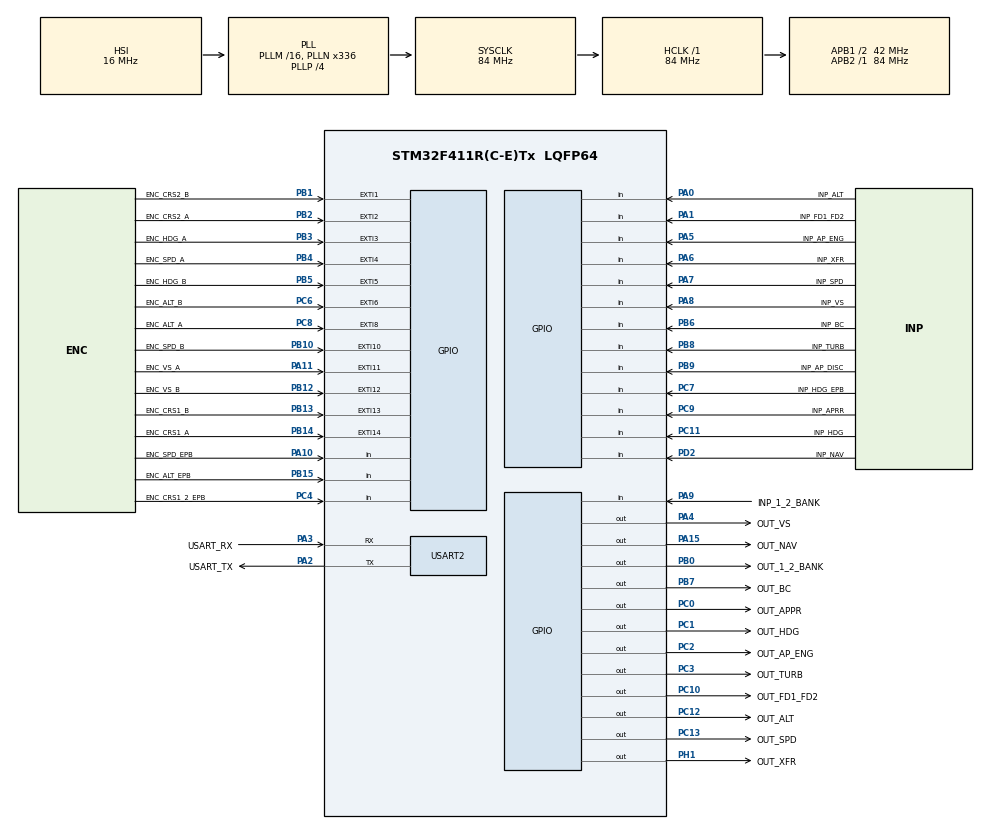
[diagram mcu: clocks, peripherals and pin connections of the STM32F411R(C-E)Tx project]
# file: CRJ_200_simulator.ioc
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Mcu.Family=STM32F4
Mcu.Name=STM32F411R(C-E)Tx
Mcu.Package=LQFP64
NVIC.EXTI15_10_IRQn=true\:0\:0\:false\:false\:true\:true\:true\:true
NVIC.EXTI1_IRQn=true\:0\:0\:false\:false\:true\:true\:true\:true
NVIC.EXTI2_IRQn=true\:0\:0\:false\:false\:true\:true\:true\:true
NVIC.EXTI3_IRQn=true\:0\:0\:false\:false\:true\:true\:true\:true
NVIC.EXTI4_IRQn=true\:0\:0\:false\:false\:true\:true\:true\:true
NVIC.EXTI9_5_IRQn=true\:0\:0\:false\:false\:true\:true\:true\:true
NVIC.PriorityGroup=NVIC_PRIORITYGROUP_0
NVIC.USART2_IRQn=true\:0\:0\:false\:false\:true\:true\:true\:true
PA0-WKUP.GPIO_Label=INP_ALT
PA0-WKUP.GPIO_PuPd=GPIO_PULLUP
PA0-WKUP.Signal=GPIO_Input
PA1.GPIO_Label=INP_FD1_FD2
PA1.GPIO_PuPd=GPIO_PULLUP
PA1.Signal=GPIO_Input
PA10.GPIO_Label=ENC_SPD_EPB
PA10.GPIO_PuPd=GPIO_PULLUP
PA10.Signal=GPIO_Input
PA11.GPIO_Label=ENC_VS_A
PA11.Signal=GPXTI11
PA13.GPIO_Label=TMS
PA13.Mode=Serial_Wire
PA13.Signal=SYS_JTMS-SWDIO
PA14.GPIO_Label=TCK
PA14.Mode=Serial_Wire
PA14.Signal=SYS_JTCK-SWCLK
PA15.GPIO_Label=OUT_NAV
PA15.Signal=GPIO_Output
PA2.GPIO_Label=USART_TX
PA2.Mode=Asynchronous
PA2.Signal=USART2_TX
PA3.GPIO_Label=USART_RX
PA3.Mode=Asynchronous
PA3.Signal=USART2_RX
PA4.GPIO_Label=OUT_VS
PA4.Signal=GPIO_Output
PA5.GPIO_Label=INP_AP_ENG
PA5.GPIO_PuPd=GPIO_PULLUP
PA5.Signal=GPIO_Input
PA6.GPIO_Label=INP_XFR
PA6.GPIO_PuPd=GPIO_PULLUP
PA6.Signal=GPIO_Input
PA7.GPIO_Label=INP_SPD
PA7.GPIO_PuPd=GPIO_PULLUP
PA7.Signal=GPIO_Input
PA8.GPIO_Label=INP_VS
PA8.GPIO_PuPd=GPIO_PULLUP
PA8.Signal=GPIO_Input
PA9.GPIO_Label=INP_1_2_BANK
PA9.GPIO_PuPd=GPIO_PULLUP
PA9.Signal=GPIO_Input
PB0.GPIO_Label=OUT_1_2_BANK
PB0.Signal=GPIO_Output
PB1.GPIO_Label=ENC_CRS2_B
PB1.Signal=GPXTI1
PB10.GPIO_Label=ENC_SPD_B
PB10.Signal=GPXTI10
PB12.GPIO_Label=ENC_VS_B
PB12.Signal=GPXTI12
PB13.GPIO_Label=ENC_CRS1_B
PB13.Signal=GPXTI13
PB14.GPIO_Label=ENC_CRS1_A
PB14.Signal=GPXTI14
PB15.GPIO_Label=ENC_ALT_EPB
PB15.GPIO_PuPd=GPIO_PULLUP
PB15.Signal=GPIO_Input
PB2.GPIO_Label=ENC_CRS2_A
PB2.Signal=GPXTI2
PB3.GPIO_Label=ENC_HDG_A
PB3.Signal=GPXTI3
PB4.GPIO_Label=ENC_SPD_A
PB4.Signal=GPXTI4
PB5.GPIO_Label=ENC_HDG_B
PB5.Signal=GPXTI5
PB6.GPIO_Label=INP_BC
PB6.GPIO_PuPd=GPIO_PULLUP
PB6.Signal=GPIO_Input
PB7.GPIO_Label=OUT_BC
PB7.Signal=GPIO_Output
PB8.GPIO_Label=INP_TURB
PB8.GPIO_PuPd=GPIO_PULLUP
PB8.Signal=GPIO_Input
PB9.GPIO_Label=INP_AP_DISC
PB9.GPIO_PuPd=GPIO_PULLUP
PB9.Signal=GPIO_Input
PC0.GPIO_Label=OUT_APPR
PC0.Signal=GPIO_Output
PC1.GPIO_Label=OUT_HDG
PC1.Signal=GPIO_Output
PC10.GPIO_Label=OUT_FD1_FD2
PC10.Signal=GPIO_Output
PC11.GPIO_Label=INP_HDG
PC11.GPIO_PuPd=GPIO_PULLUP
PC11.Signal=GPIO_Input
PC12.GPIO_Label=OUT_ALT
PC12.Signal=GPIO_Output
PC13-ANTI_TAMP.GPIO_Label=OUT_SPD
PC13-ANTI_TAMP.Signal=GPIO_Output
PC14-OSC32_IN.Mode=LSE-External-Oscillator
PC14-OSC32_IN.Signal=RCC_OSC32_IN
PC15-OSC32_OUT.Mode=LSE-External-Oscillator
PC15-OSC32_OUT.Signal=RCC_OSC32_OUT
PC2.GPIO_Label=OUT_AP_ENG
PC2.Signal=GPIO_Output
PC3.GPIO_Label=OUT_TURB
PC3.Signal=GPIO_Output
PC4.GPIO_Label=ENC_CRS1_2_EPB
PC4.GPIO_PuPd=GPIO_PULLUP
PC4.Signal=GPIO_Input
PC6.GPIO_Label=ENC_ALT_B
PC6.Signal=GPXTI6
PC7.GPIO_Label=INP_HDG_EPB
PC7.GPIO_PuPd=GPIO_PULLUP
PC7.Signal=GPIO_Input
PC8.GPIO_Label=ENC_ALT_A
PC8.Signal=GPXTI8
PC9.GPIO_Label=INP_APRR
PC9.GPIO_PuPd=GPIO_PULLUP
PC9.Signal=GPIO_Input
PD2.GPIO_Label=INP_NAV
PD2.GPIO_PuPd=GPIO_PULLUP
PD2.Signal=GPIO_Input
PH1\ -\ OSC_OUT.GPIO_Label=OUT_XFR
PH1\ -\ OSC_OUT.Signal=GPIO_Output
ProjectManager.HeapSize=0x200
ProjectManager.StackSize=0x400
ProjectManager.TargetToolchain=STM32CubeIDE
RCC.48MHZClocksFreq_Value=84000000
RCC.AHBFreq_Value=84000000
RCC.APB1CLKDivider=RCC_HCLK_DIV2
RCC.APB1Freq_Value=42000000
RCC.APB1TimFreq_Value=84000000
RCC.APB2Freq_Value=84000000
RCC.APB2TimFreq_Value=84000000
RCC.CortexFreq_Value=84000000
RCC.FLatency-AdvancedSettings=FLASH_LATENCY_2
RCC.HCLKFreq_Value=84000000
RCC.HSE_VALUE=8000000
RCC.HSI_VALUE=16000000
RCC.PLLN=336
RCC.PLLP=RCC_PLLP_DIV4
RCC.SYSCLKFreq_VALUE=84000000
RCC.SYSCLKSource=RCC_SYSCLKSOURCE_PLLCLK
RCC.VCOOutputFreq_Value=336000000
USART2.VirtualMode=VM_ASYNC
board=NUCLEO-F411RE

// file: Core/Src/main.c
/* USER CODE BEGIN Header */
/**
  ******************************************************************************
  * @file           : main.c
  * @brief          : Main program body
  ******************************************************************************
  * @attention
  *
  * Copyright (c) 2025 STMicroelectronics.
  * All rights reserved.
  *
  * This software is licensed under terms that can be found in the LICENSE file
  * in the root directory of this software component.
  * If no LICENSE file comes with this software, it is provided AS-IS.
  *
  ******************************************************************************
  */
/* USER CODE END Header */
#include "main.h"

/* USER CODE BEGIN Includes */
#include "stdio.h"
#include "stdlib.h"
#define PUTCHAR_PROTOTYPE int __io_putchar(int ch)
/* USER CODE END Includes */

/* USER CODE BEGIN PD */
#define TX_BUFFER_SIZE 1
#define OUTPUT_DATA_SIZE 12
#define BUTTON_DATA_SIZE 17
#define DEBOUNCE_DELAY 25
#define SEND_DELAY 10
/* USER CODE END PD */

UART_HandleTypeDef huart2;

/* USER CODE BEGIN PV */
typedef struct {
    uint16_t pin;
    uint32_t lastInterruptTime;
} DebounceState;

typedef struct{
	GPIO_TypeDef* port;	//The GPIO port of the LED
	uint16_t pin;		//The pin number
	uint8_t state;		//The State of the LED or  BUTTON (0 = OFF, 1 = ON)
}OUTPUTS, INPUTS;

typedef struct LinkedListNode {				//structure of link list  for the QUEUE
	struct LinkedListNode* ptrNextNode;	   // pointer to next node in list (NULL if the end)
	uint8_t				   index;		 //The index of the element
	uint8_t				   sendData;	// The data to be sent
	uint8_t				   element;		  //The element to be send
} LinkedListNodeDef;

enum elements{
	ENCODER_FLAG,
	ENCODER_INDEX,
	ENCODER_DATA
};

OUTPUTS leds[OUTPUT_DATA_SIZE] = {
    {OUT_FD1_FD2_GPIO_Port, OUT_FD1_FD2_Pin, GPIO_PIN_SET},  // FD1 FD2 Led
    {OUT_AP_ENG_GPIO_Port, OUT_AP_ENG_Pin, GPIO_PIN_SET},    // AP ENG Led
    {OUT_XFR_GPIO_Port, OUT_XFR_Pin, GPIO_PIN_SET},          // XFR Led
    {OUT_TURB_GPIO_Port, OUT_TURB_Pin, GPIO_PIN_SET},        // TURB Led
    {OUT_SPD_GPIO_Port, OUT_SPD_Pin, GPIO_PIN_SET},          // SPD Led
    {OUT_APPR_GPIO_Port, OUT_APPR_Pin, GPIO_PIN_SET},        // APPR Led
    {OUT_BC_GPIO_Port, OUT_BC_Pin, GPIO_PIN_SET},            // BC Led
    {OUT_HDG_GPIO_Port, OUT_HDG_Pin, GPIO_PIN_SET},          // HDG Led
    {OUT_NAV_GPIO_Port, OUT_NAV_Pin, GPIO_PIN_SET},          // NAV Led
    {OUT_1_2_BANK_GPIO_Port, OUT_1_2_BANK_Pin, GPIO_PIN_SET},// 1/2 BANK Led
    {OUT_ALT_GPIO_Port, OUT_ALT_Pin, GPIO_PIN_SET},          // ALT Led
    {OUT_VS_GPIO_Port, OUT_VS_Pin, GPIO_PIN_SET},            // VS Led
};

INPUTS buttons[BUTTON_DATA_SIZE] = {
		{INP_FD1_FD2_GPIO_Port, INP_FD1_FD2_Pin, 1},		//FD1 FD2 Button
		{INP_ALT_GPIO_Port, INP_ALT_Pin, 1},				//ALT Button
		{INP_NAV_GPIO_Port, INP_NAV_Pin, 1},				//NAV Button
		{INP_HDG_GPIO_Port, INP_HDG_Pin, 1},				//HDG Button
		{INP_APRR_GPIO_Port, INP_APRR_Pin, 1},				//APPR Button
		{INP_TURB_GPIO_Port, INP_TURB_Pin, 1},				//TURB Button
		{INP_AP_DISC_GPIO_Port, INP_AP_DISC_Pin, 1},		//AP DISC Button
		{INP_AP_ENG_GPIO_Port, INP_AP_ENG_Pin, 1},			//AP ENG Button
		{INP_XFR_GPIO_Port, INP_XFR_Pin, 1},				//XFR Button
		{INP_SPD_GPIO_Port, INP_SPD_Pin, 1},				//SPD Button
		{INP_BC_GPIO_Port, INP_BC_Pin, 1},					//BC Button
		{INP_HDG_EPB_GPIO_Port, INP_HDG_EPB_Pin, 1},		//HDG Encoder's Button
		{INP_1_2_BANK_GPIO_Port, INP_1_2_BANK_Pin, 1},		//1/2 Button
		{INP_VS_GPIO_Port, INP_VS_Pin, 1},					//VS Button
		{ENC_SPD_EPB_GPIO_Port, ENC_SPD_EPB_Pin, 1},		//SPD Encoder's Button
		{ENC_CRS1_2_EPB_GPIO_Port, ENC_CRS1_2_EPB_Pin, 1},	//CRS1 Encoder's Button
		{ENC_ALT_EPB_GPIO_Port, ENC_ALT_EPB_Pin, 1},		//ALT Encoder's Button
};

DebounceState debounceStates[] = {
    {ENC_CRS1_B_Pin, 0},
    {ENC_SPD_B_Pin, 0},
    {ENC_HDG_B_Pin, 0},
    {ENC_ALT_B_Pin, 0},
    {ENC_VS_B_Pin, 0},
    {ENC_CRS2_B_Pin, 0}
};

volatile uint8_t encoderStorage[3] = {0};
volatile uint8_t received = 1;
volatile uint8_t tx_complete = 0;
uint16_t ledStatusRxBuffer = 0b111111111111;
uint32_t buttonStatusTxData = 0;
uint8_t uart_tx_buffer[BUTTON_DATA_SIZE];
LinkedListNodeDef* ptrHead = NULL;

/* USER CODE END PV */

void SystemClock_Config(void);
static void MX_GPIO_Init(void);
static void MX_USART2_UART_Init(void);
/* USER CODE BEGIN PFP */
LinkedListNodeDef* putToQueue( uint8_t index, uint8_t data, uint8_t element, LinkedListNodeDef* ptrHead);
uint8_t transformData( uint8_t index, uint8_t data, uint8_t element);
void unpackData(uint8_t data);
LinkedListNodeDef* sendFromQueue(LinkedListNodeDef* ptrHead);
void HAL_UART_RxCpltCallback(UART_HandleTypeDef *huart);
void HAL_GPIO_EXTI_Callback(uint16_t GPIO_Pin);
void unpackDataLED();
void updateLEDOutput();
void updateLeds();
void turnOffLED();
LinkedListNodeDef* readDatabuttons();
/* USER CODE END PFP */

int main(void)
{

  /* MCU Configuration--------------------------------------------------------*/

  /* Reset of all peripherals, Initializes the Flash interface and the Systick. */
  HAL_Init();

  /* Configure the system clock */
  SystemClock_Config();

  /* Initialize all configured peripherals */
  MX_GPIO_Init();
  MX_USART2_UART_Init();
  /* USER CODE BEGIN 2 */

  //HAL_UART_Receive_IT(&huart2, uart_rx_buffer, OUTPUT_DATA_SIZE);
  turnOffLED();
  ptrHead = NULL;
  /* USER CODE END 2 */

  /* Infinite loop */
  /* USER CODE BEGIN WHILE */
  while (1)
  {
	  updateLeds();
	  ptrHead = readDatabuttons(ptrHead);
	  ptrHead = sendFromQueue(ptrHead);
	  if(encoderStorage[ENCODER_FLAG] == 1){
		  ptrHead = putToQueue(encoderStorage[ENCODER_INDEX], encoderStorage[ENCODER_DATA], 1, ptrHead);
		  encoderStorage[ENCODER_FLAG] = 0;
	  }

    /* USER CODE END WHILE */

  }
}

void SystemClock_Config(void)
{
  RCC_OscInitTypeDef RCC_OscInitStruct = {0};
  RCC_ClkInitTypeDef RCC_ClkInitStruct = {0};

  /** Configure the main internal regulator output voltage
  */
  __HAL_RCC_PWR_CLK_ENABLE();
  __HAL_PWR_VOLTAGESCALING_CONFIG(PWR_REGULATOR_VOLTAGE_SCALE1);

  /** Initializes the RCC Oscillators according to the specified parameters
  * in the RCC_OscInitTypeDef structure.
  */
  RCC_OscInitStruct.OscillatorType = RCC_OSCILLATORTYPE_HSI;
  RCC_OscInitStruct.HSIState = RCC_HSI_ON;
  RCC_OscInitStruct.HSICalibrationValue = RCC_HSICALIBRATION_DEFAULT;
  RCC_OscInitStruct.PLL.PLLState = RCC_PLL_ON;
  RCC_OscInitStruct.PLL.PLLSource = RCC_PLLSOURCE_HSI;
  RCC_OscInitStruct.PLL.PLLM = 16;
  RCC_OscInitStruct.PLL.PLLN = 336;
  RCC_OscInitStruct.PLL.PLLP = RCC_PLLP_DIV4;
  RCC_OscInitStruct.PLL.PLLQ = 4;
  if (HAL_RCC_OscConfig(&RCC_OscInitStruct) != HAL_OK)
  {
    Error_Handler();
  }

  /** Initializes the CPU, AHB and APB buses clocks
  */
  RCC_ClkInitStruct.ClockType = RCC_CLOCKTYPE_HCLK|RCC_CLOCKTYPE_SYSCLK
                              |RCC_CLOCKTYPE_PCLK1|RCC_CLOCKTYPE_PCLK2;
  RCC_ClkInitStruct.SYSCLKSource = RCC_SYSCLKSOURCE_PLLCLK;
  RCC_ClkInitStruct.AHBCLKDivider = RCC_SYSCLK_DIV1;
  RCC_ClkInitStruct.APB1CLKDivider = RCC_HCLK_DIV2;
  RCC_ClkInitStruct.APB2CLKDivider = RCC_HCLK_DIV1;

  if (HAL_RCC_ClockConfig(&RCC_ClkInitStruct, FLASH_LATENCY_2) != HAL_OK)
  {
    Error_Handler();
  }
}

static void MX_USART2_UART_Init(void)
{

  huart2.Instance = USART2;
  huart2.Init.BaudRate = 115200;
  huart2.Init.WordLength = UART_WORDLENGTH_8B;
  huart2.Init.StopBits = UART_STOPBITS_1;
  huart2.Init.Parity = UART_PARITY_NONE;
  huart2.Init.Mode = UART_MODE_TX_RX;
  huart2.Init.HwFlowCtl = UART_HWCONTROL_NONE;
  huart2.Init.OverSampling = UART_OVERSAMPLING_16;
  if (HAL_UART_Init(&huart2) != HAL_OK)
  {
    Error_Handler();
  }

}

static void MX_GPIO_Init(void)
{
  GPIO_InitTypeDef GPIO_InitStruct = {0};

  /* GPIO Ports Clock Enable */
  __HAL_RCC_GPIOC_CLK_ENABLE();
  __HAL_RCC_GPIOH_CLK_ENABLE();
  __HAL_RCC_GPIOA_CLK_ENABLE();
  __HAL_RCC_GPIOB_CLK_ENABLE();
  __HAL_RCC_GPIOD_CLK_ENABLE();

  /*Configure GPIO pin Output Level */
  HAL_GPIO_WritePin(GPIOC, OUT_SPD_Pin|OUT_APPR_Pin|OUT_HDG_Pin|OUT_AP_ENG_Pin
                          |OUT_TURB_Pin|OUT_FD1_FD2_Pin|OUT_ALT_Pin, GPIO_PIN_RESET);

  /*Configure GPIO pin Output Level */
  HAL_GPIO_WritePin(OUT_XFR_GPIO_Port, OUT_XFR_Pin, GPIO_PIN_RESET);

  /*Configure GPIO pin Output Level */
  HAL_GPIO_WritePin(GPIOA, OUT_VS_Pin|OUT_NAV_Pin, GPIO_PIN_RESET);

  /*Configure GPIO pin Output Level */
  HAL_GPIO_WritePin(GPIOB, OUT_1_2_BANK_Pin|OUT_BC_Pin, GPIO_PIN_RESET);

  /*Configure GPIO pins : OUT_SPD_Pin OUT_APPR_Pin OUT_HDG_Pin OUT_AP_ENG_Pin
                           OUT_TURB_Pin OUT_FD1_FD2_Pin OUT_ALT_Pin */
  GPIO_InitStruct.Pin = OUT_SPD_Pin|OUT_APPR_Pin|OUT_HDG_Pin|OUT_AP_ENG_Pin
                          |OUT_TURB_Pin|OUT_FD1_FD2_Pin|OUT_ALT_Pin;
  GPIO_InitStruct.Mode = GPIO_MODE_OUTPUT_PP;
  GPIO_InitStruct.Pull = GPIO_NOPULL;
  GPIO_InitStruct.Speed = GPIO_SPEED_FREQ_LOW;
  HAL_GPIO_Init(GPIOC, &GPIO_InitStruct);

  /*Configure GPIO pin : OUT_XFR_Pin */
  GPIO_InitStruct.Pin = OUT_XFR_Pin;
  GPIO_InitStruct.Mode = GPIO_MODE_OUTPUT_PP;
  GPIO_InitStruct.Pull = GPIO_NOPULL;
  GPIO_InitStruct.Speed = GPIO_SPEED_FREQ_LOW;
  HAL_GPIO_Init(OUT_XFR_GPIO_Port, &GPIO_InitStruct);

  /*Configure GPIO pins : INP_ALT_Pin INP_FD1_FD2_Pin INP_AP_ENG_Pin INP_XFR_Pin
                           INP_SPD_Pin INP_VS_Pin INP_1_2_BANK_Pin ENC_SPD_EPB_Pin */
  GPIO_InitStruct.Pin = INP_ALT_Pin|INP_FD1_FD2_Pin|INP_AP_ENG_Pin|INP_XFR_Pin
                          |INP_SPD_Pin|INP_VS_Pin|INP_1_2_BANK_Pin|ENC_SPD_EPB_Pin;
  GPIO_InitStruct.Mode = GPIO_MODE_INPUT;
  GPIO_InitStruct.Pull = GPIO_PULLUP;
  HAL_GPIO_Init(GPIOA, &GPIO_InitStruct);

  /*Configure GPIO pins : OUT_VS_Pin OUT_NAV_Pin */
  GPIO_InitStruct.Pin = OUT_VS_Pin|OUT_NAV_Pin;
  GPIO_InitStruct.Mode = GPIO_MODE_OUTPUT_PP;
  GPIO_InitStruct.Pull = GPIO_NOPULL;
  GPIO_InitStruct.Speed = GPIO_SPEED_FREQ_LOW;
  HAL_GPIO_Init(GPIOA, &GPIO_InitStruct);

  /*Configure GPIO pins : ENC_CRS1_2_EPB_Pin INP_HDG_EPB_Pin INP_APRR_Pin INP_HDG_Pin */
  GPIO_InitStruct.Pin = ENC_CRS1_2_EPB_Pin|INP_HDG_EPB_Pin|INP_APRR_Pin|INP_HDG_Pin;
  GPIO_InitStruct.Mode = GPIO_MODE_INPUT;
  GPIO_InitStruct.Pull = GPIO_PULLUP;
  HAL_GPIO_Init(GPIOC, &GPIO_InitStruct);

  /*Configure GPIO pins : OUT_1_2_BANK_Pin OUT_BC_Pin */
  GPIO_InitStruct.Pin = OUT_1_2_BANK_Pin|OUT_BC_Pin;
  GPIO_InitStruct.Mode = GPIO_MODE_OUTPUT_PP;
  GPIO_InitStruct.Pull = GPIO_NOPULL;
  GPIO_InitStruct.Speed = GPIO_SPEED_FREQ_LOW;
  HAL_GPIO_Init(GPIOB, &GPIO_InitStruct);

  /*Configure GPIO pins : ENC_CRS2_B_Pin ENC_CRS2_A_Pin ENC_SPD_B_Pin ENC_VS_B_Pin
                           ENC_CRS1_B_Pin ENC_CRS1_A_Pin ENC_HDG_A_Pin ENC_SPD_A_Pin
                           ENC_HDG_B_Pin */
  GPIO_InitStruct.Pin = ENC_CRS2_B_Pin|ENC_CRS2_A_Pin|ENC_SPD_B_Pin|ENC_VS_B_Pin
                          |ENC_CRS1_B_Pin|ENC_CRS1_A_Pin|ENC_HDG_A_Pin|ENC_SPD_A_Pin
                          |ENC_HDG_B_Pin;
  GPIO_InitStruct.Mode = GPIO_MODE_IT_RISING;
  GPIO_InitStruct.Pull = GPIO_NOPULL;
  HAL_GPIO_Init(GPIOB, &GPIO_InitStruct);

  /*Configure GPIO pins : ENC_ALT_EPB_Pin INP_BC_Pin INP_TURB_Pin INP_AP_DISC_Pin */
  GPIO_InitStruct.Pin = ENC_ALT_EPB_Pin|INP_BC_Pin|INP_TURB_Pin|INP_AP_DISC_Pin;
  GPIO_InitStruct.Mode = GPIO_MODE_INPUT;
  GPIO_InitStruct.Pull = GPIO_PULLUP;
  HAL_GPIO_Init(GPIOB, &GPIO_InitStruct);

  /*Configure GPIO pins : ENC_ALT_B_Pin ENC_ALT_A_Pin */
  GPIO_InitStruct.Pin = ENC_ALT_B_Pin|ENC_ALT_A_Pin;
  GPIO_InitStruct.Mode = GPIO_MODE_IT_RISING;
  GPIO_InitStruct.Pull = GPIO_NOPULL;
  HAL_GPIO_Init(GPIOC, &GPIO_InitStruct);

  /*Configure GPIO pin : ENC_VS_A_Pin */
  GPIO_InitStruct.Pin = ENC_VS_A_Pin;
  GPIO_InitStruct.Mode = GPIO_MODE_IT_RISING;
  GPIO_InitStruct.Pull = GPIO_NOPULL;
  HAL_GPIO_Init(ENC_VS_A_GPIO_Port, &GPIO_InitStruct);

  /*Configure GPIO pin : INP_NAV_Pin */
  GPIO_InitStruct.Pin = INP_NAV_Pin;
  GPIO_InitStruct.Mode = GPIO_MODE_INPUT;
  GPIO_InitStruct.Pull = GPIO_PULLUP;
  HAL_GPIO_Init(INP_NAV_GPIO_Port, &GPIO_InitStruct);

  /* EXTI interrupt init*/
  HAL_NVIC_SetPriority(EXTI1_IRQn, 0, 0);
  HAL_NVIC_EnableIRQ(EXTI1_IRQn);

  HAL_NVIC_SetPriority(EXTI2_IRQn, 0, 0);
  HAL_NVIC_EnableIRQ(EXTI2_IRQn);

  HAL_NVIC_SetPriority(EXTI3_IRQn, 0, 0);
  HAL_NVIC_EnableIRQ(EXTI3_IRQn);

  HAL_NVIC_SetPriority(EXTI4_IRQn, 0, 0);
  HAL_NVIC_EnableIRQ(EXTI4_IRQn);

  HAL_NVIC_SetPriority(EXTI9_5_IRQn, 0, 0);
  HAL_NVIC_EnableIRQ(EXTI9_5_IRQn);

  HAL_NVIC_SetPriority(EXTI15_10_IRQn, 0, 0);
  HAL_NVIC_EnableIRQ(EXTI15_10_IRQn);

}

/* USER CODE BEGIN 4 */
PUTCHAR_PROTOTYPE
{
  /* Place your implementation of fputc here */
  /* e.g. write a character to the USART1 and Loop until the end of transmission */
  HAL_UART_Transmit(&huart2, (uint8_t *)&ch, 1, 0xFFFF);
  return ch;
}

void HAL_GPIO_EXTI_Callback(uint16_t GPIO_Pin) {
	uint32_t currentTime = HAL_GetTick(); // Obtiene el tiempo actual en ms

	for (int8_t encoder = 0; encoder < 5; encoder++) {
		if (debounceStates[encoder].pin == GPIO_Pin) {
			if (currentTime - debounceStates[encoder].lastInterruptTime > DEBOUNCE_DELAY) {
				debounceStates[encoder].lastInterruptTime = currentTime;
				switch(GPIO_Pin){
					case ENC_CRS1_B_Pin:
						if(HAL_GPIO_ReadPin(GPIOB, ENC_CRS1_A_Pin)){
							encoderStorage[ENCODER_FLAG] = 1;
							encoderStorage[ENCODER_INDEX] = 0;
							encoderStorage[ENCODER_DATA] = 1;
						}else{
							encoderStorage[ENCODER_FLAG] = 1;
							encoderStorage[ENCODER_INDEX] = 0;
							encoderStorage[ENCODER_DATA] = 0;
						}
						break;
					case ENC_SPD_B_Pin:
						if(HAL_GPIO_ReadPin(GPIOB, ENC_SPD_A_Pin)){
							encoderStorage[ENCODER_FLAG] = 1;
							encoderStorage[ENCODER_INDEX] = 1;
							encoderStorage[ENCODER_DATA] = 1;
						}else{
							encoderStorage[ENCODER_FLAG] = 1;
							encoderStorage[ENCODER_INDEX] = 1;
							encoderStorage[ENCODER_DATA] = 0;
						}
						break;
					case ENC_HDG_B_Pin:
						if(HAL_GPIO_ReadPin(GPIOB, ENC_HDG_A_Pin)){
							encoderStorage[ENCODER_FLAG] = 1;
							encoderStorage[ENCODER_INDEX] = 2;
							encoderStorage[ENCODER_DATA] = 1;
						}else{
							encoderStorage[ENCODER_FLAG] = 1;
							encoderStorage[ENCODER_INDEX] = 2;
							encoderStorage[ENCODER_DATA] = 0;
						}
						break;
					case ENC_ALT_B_Pin:
						if(HAL_GPIO_ReadPin(GPIOC, ENC_ALT_A_Pin)){
							encoderStorage[ENCODER_FLAG] = 1;
							encoderStorage[ENCODER_INDEX] = 3;
							encoderStorage[ENCODER_DATA] = 1;
						}else{
							encoderStorage[ENCODER_FLAG] = 1;
							encoderStorage[ENCODER_INDEX] = 3;
							encoderStorage[ENCODER_DATA] = 0;
						}
						break;
					case ENC_VS_B_Pin:
						if(HAL_GPIO_ReadPin(GPIOA, ENC_VS_A_Pin)){
							encoderStorage[ENCODER_FLAG] = 1;
							encoderStorage[ENCODER_INDEX] = 4;
							encoderStorage[ENCODER_DATA] = 0;
						}else{
							encoderStorage[ENCODER_FLAG] = 1;
							encoderStorage[ENCODER_INDEX] = 4;
							encoderStorage[ENCODER_DATA] = 1;
						}
						break;
					case ENC_CRS2_B_Pin:
						if(HAL_GPIO_ReadPin(GPIOB, ENC_CRS2_A_Pin)){
							encoderStorage[ENCODER_FLAG] = 1;
							encoderStorage[ENCODER_INDEX] = 5;
							encoderStorage[ENCODER_DATA] = 1;
						}else{
							encoderStorage[ENCODER_FLAG] = 1;
							encoderStorage[ENCODER_INDEX] = 5;
							encoderStorage[ENCODER_DATA] = 0;
						}
						break;
				}
			}
		}
	}
}

// FUNCTION      : putToQueue()
// DESCRIPTION   : This function add a new element to the queue
// PARAMETERS    : LinkedListNodeDef* ptrHead - pointer to the head link list
//				   uint8_t index - index of the element
//				   uint8_t data - data from the element
//				   uint8_t element _ Type of element encoder or button
// RETURNS       : LinkedListNodeDef* - pointer to the head of the link list
LinkedListNodeDef* putToQueue( uint8_t index, uint8_t data, uint8_t element, LinkedListNodeDef* ptrHead) {

	LinkedListNodeDef* newNode = NULL; //Used for pointing to new node
	LinkedListNodeDef* currentNode = ptrHead; //Used for traversing

	newNode = (LinkedListNodeDef*)malloc(sizeof(LinkedListNodeDef)); //assigning memory address to the new node

	if (newNode == NULL) { // address validation
		return ptrHead;
	}

	newNode->ptrNextNode = NULL; //initializing structure elements
	newNode->element = element;
	newNode->index = index;
	newNode->sendData = data;

	if (ptrHead == NULL) { // if it is the first element
		return newNode;
	}

	while (currentNode->ptrNextNode != NULL) {
		currentNode = currentNode->ptrNextNode; // move to the last element
	}

	currentNode->ptrNextNode = newNode;

	return ptrHead;

}

// FUNCTION      : transformData()
// DESCRIPTION   : This function combine all the information in one variable to be send it
// PARAMETERS    : uint8_t index - index of the element
//				   uint8_t data - data from the element
//				   uint8_t element _ Type of element encoder or button
// RETURNS       : uint8_t - Data to be send
uint8_t transformData( uint8_t index, uint8_t data, uint8_t element) {

	uint8_t dataTransformed = index << 3;
	dataTransformed |= (data << 2);
	dataTransformed |= (element << 0);
	return  dataTransformed;
}

// FUNCTION      : sendFromQueue()
// DESCRIPTION   : This function send one data by time periods
// PARAMETERS    : LinkedListNodeDef* ptrHead - pointer to the head link list
// RETURNS       : LinkedListNodeDef* - pointer to the head of the link list
LinkedListNodeDef* sendFromQueue(LinkedListNodeDef* ptrHead) {

	LinkedListNodeDef* currentNode = ptrHead; //Used for traversing
	LinkedListNodeDef* nextPtrHead = ptrHead; //to save the next node address
	static uint32_t lastSendTime = 0;

	if(ptrHead == NULL){
		return NULL;
	}

	if((HAL_GetTick() - lastSendTime) > SEND_DELAY){
		nextPtrHead = currentNode->ptrNextNode; // Saving the next memory address
		uint8_t sendData = transformData(currentNode->index, currentNode->sendData, currentNode->element);
		HAL_UART_Transmit_IT(&huart2, &sendData, TX_BUFFER_SIZE);
		free(currentNode); //Free memory space
		currentNode = NULL;
		lastSendTime = HAL_GetTick();
	}

	return nextPtrHead;
}

// FUNCTION      : HAL_UART_RxCpltCallback()
// DESCRIPTION   : it is the interruption used when the microcontroller recive
//					information from the serial port
// PARAMETERS    :
//					UART_HandleTypeDef *huart - it is the UART instance used
// RETURNS       : nothing
void HAL_UART_RxCpltCallback(UART_HandleTypeDef *huart) {
    if (huart->Instance == USART2) {
        received = 1;
    }
}

// FUNCTION      : unpackData()
// DESCRIPTION   : This function unpack the information form the simulator
//				   format to the led structure
// PARAMETERS    :
//					UART_HandleTypeDef *huart - it is the UART instance used
// RETURNS       : nothing
void unpackDataLED() {

	for (int8_t element = 0; element < OUTPUT_DATA_SIZE; element++) {

		leds[element].state = (ledStatusRxBuffer >> element) & 0x01;

	}

}

// FUNCTION      : updateLEDOutput()
// DESCRIPTION   : This function unpack the information form the simulator
//				   and update the LEDs
// PARAMETERS    : nothing
// RETURNS       : nothing
void updateLEDOutput(){

	static int16_t previousLedStatus = 0b111111111111;
	int16_t currentLedStatus = ledStatusRxBuffer;
	int16_t changedBits = previousLedStatus ^ currentLedStatus;
	int16_t pinState = 0;

	for (int8_t i = 0; i < OUTPUT_DATA_SIZE; i++) {
		if (changedBits & (1 << i)) {
			pinState = (currentLedStatus >> i) & 1;
			HAL_GPIO_WritePin(leds[i].port, leds[i].pin, pinState);
		}
	}
	 previousLedStatus = currentLedStatus;
}

// FUNCTION      : updateLeds()
// DESCRIPTION   : This function updates LED Outputs
// PARAMETERS    : nothing
// RETURNS       : nothing
void updateLeds(){
    if (received) {
        received = 0;
        updateLEDOutput();
        HAL_UART_Receive_IT(&huart2, (uint8_t*)&ledStatusRxBuffer, 2); // Restart UART reception AFTER processing data
    }
}

// FUNCTION      : updateLeds()
// DESCRIPTION   : This function Turn Off al LEDS
// PARAMETERS    : nothing
// RETURNS       : nothing
void turnOffLED(){

	for (int8_t i = 0; i < OUTPUT_DATA_SIZE; i++) {
	        HAL_GPIO_WritePin(leds[i].port, leds[i].pin, 1);
	    }
}

// FUNCTION      : readDatabuttons()
// DESCRIPTION   : This functions read the data in the buttons
//					and save in a QUEUE only if it is pressed
// PARAMETERS    : LinkedListNodeDef* ptrHead - pointer to the head link list
// RETURNS       : LinkedListNodeDef* - pointer to the head of the link list
LinkedListNodeDef* readDatabuttons(LinkedListNodeDef* ptrHead){

	static uint32_t lastTime[BUTTON_DATA_SIZE] = {0};
	LinkedListNodeDef* nodePtr = ptrHead;

	for(int8_t index = 0; index < BUTTON_DATA_SIZE; index++){

		int8_t currentState  = HAL_GPIO_ReadPin(buttons[index].port, buttons[index].pin);

		if(buttons[index].state != currentState){

			uint32_t currentTime = HAL_GetTick();

			if((currentTime - lastTime[index]) > DEBOUNCE_DELAY){
				if(currentState == 0 ){
					nodePtr = putToQueue(index, 1, 0, ptrHead);
				}
				buttons[index].state = currentState;
				lastTime[index] = currentTime;
				return nodePtr;
			}
		}
	}
	return nodePtr;
}

/* USER CODE END 4 */

void Error_Handler(void)
{
  __disable_irq();
  while (1)
  {
  }
}
